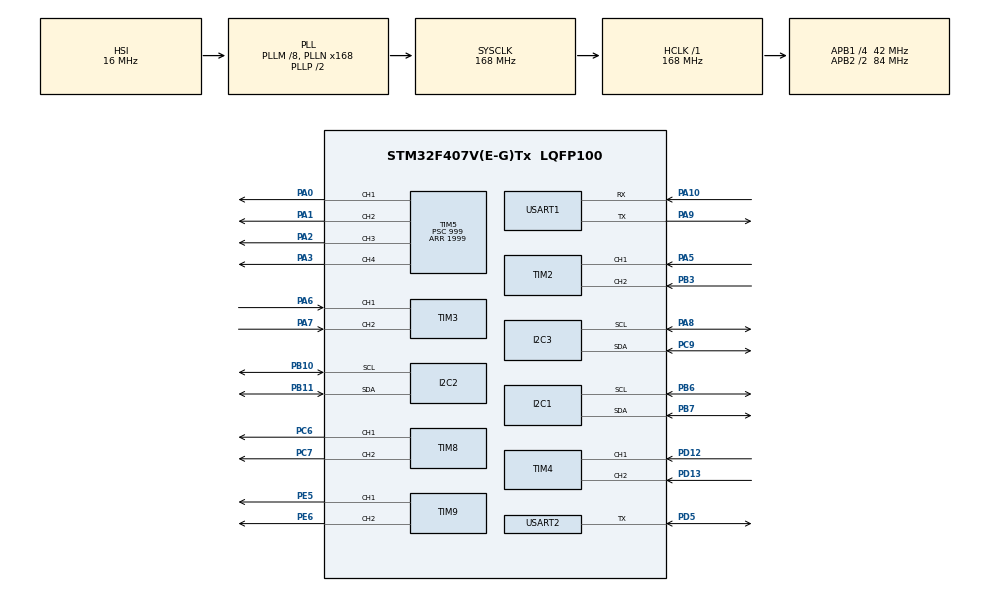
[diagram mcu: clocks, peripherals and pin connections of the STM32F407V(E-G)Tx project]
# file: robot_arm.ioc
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Dma.Request0=USART1_RX
Dma.Request1=USART1_TX
Dma.USART1_RX.0.Direction=DMA_PERIPH_TO_MEMORY
Dma.USART1_RX.0.FIFOMode=DMA_FIFOMODE_DISABLE
Dma.USART1_RX.0.Instance=DMA2_Stream2
Dma.USART1_RX.0.MemDataAlignment=DMA_MDATAALIGN_BYTE
Dma.USART1_RX.0.MemInc=DMA_MINC_ENABLE
Dma.USART1_RX.0.Mode=DMA_CIRCULAR
Dma.USART1_RX.0.PeriphDataAlignment=DMA_PDATAALIGN_BYTE
Dma.USART1_RX.0.PeriphInc=DMA_PINC_DISABLE
Dma.USART1_RX.0.Priority=DMA_PRIORITY_VERY_HIGH
Dma.USART1_TX.1.Direction=DMA_MEMORY_TO_PERIPH
Dma.USART1_TX.1.FIFOMode=DMA_FIFOMODE_DISABLE
Dma.USART1_TX.1.Instance=DMA2_Stream7
Dma.USART1_TX.1.MemDataAlignment=DMA_MDATAALIGN_BYTE
Dma.USART1_TX.1.MemInc=DMA_MINC_ENABLE
Dma.USART1_TX.1.Mode=DMA_NORMAL
Dma.USART1_TX.1.PeriphDataAlignment=DMA_PDATAALIGN_BYTE
Dma.USART1_TX.1.PeriphInc=DMA_PINC_DISABLE
Dma.USART1_TX.1.Priority=DMA_PRIORITY_VERY_HIGH
FREERTOS.Tasks01=defaultTask,24,12000,StartDefaultTask,Default,NULL,Static,defaultTaskBuffer,defaultTaskControlBlock
Mcu.Family=STM32F4
Mcu.Name=STM32F407V(E-G)Tx
Mcu.Package=LQFP100
NVIC.DMA2_Stream2_IRQn=true\:5\:0\:false\:false\:true\:true\:false\:true\:true
NVIC.DMA2_Stream7_IRQn=true\:5\:0\:false\:false\:true\:true\:false\:true\:true
NVIC.PriorityGroup=NVIC_PRIORITYGROUP_4
NVIC.TIM1_UP_TIM10_IRQn=true\:15\:0\:false\:false\:true\:false\:false\:true\:true
NVIC.TimeBase=TIM1_UP_TIM10_IRQn
NVIC.TimeBaseIP=TIM1
NVIC.USART1_IRQn=true\:5\:0\:false\:false\:true\:true\:true\:true\:true
NVIC.USART2_IRQn=true\:5\:0\:false\:false\:true\:true\:true\:true\:true
PA0-WKUP.Signal=S_TIM5_CH1
PA1.Signal=S_TIM5_CH2
PA10.Mode=Asynchronous
PA10.Signal=USART1_RX
PA13.Mode=Serial_Wire
PA13.Signal=SYS_JTMS-SWDIO
PA14.Mode=Serial_Wire
PA14.Signal=SYS_JTCK-SWCLK
PA2.Signal=S_TIM5_CH3
PA3.Signal=S_TIM5_CH4
PA5.Signal=S_TIM2_CH1_ETR
PA6.Signal=S_TIM3_CH1
PA7.Signal=S_TIM3_CH2
PA8.Mode=I2C
PA8.Signal=I2C3_SCL
PA9.Mode=Asynchronous
PA9.Signal=USART1_TX
PB10.Mode=I2C
PB10.Signal=I2C2_SCL
PB11.Mode=I2C
PB11.Signal=I2C2_SDA
PB3.Signal=S_TIM2_CH2
PB6.Mode=I2C
PB6.Signal=I2C1_SCL
PB7.Mode=I2C
PB7.Signal=I2C1_SDA
PC14-OSC32_IN.Mode=LSE-External-Oscillator
PC14-OSC32_IN.Signal=RCC_OSC32_IN
PC15-OSC32_OUT.Mode=LSE-External-Oscillator
PC15-OSC32_OUT.Signal=RCC_OSC32_OUT
PC6.Signal=S_TIM8_CH1
PC7.Signal=S_TIM8_CH2
PC9.Mode=I2C
PC9.Signal=I2C3_SDA
PD12.Signal=S_TIM4_CH1
PD13.Signal=S_TIM4_CH2
PD5.GPIO_PuPd=GPIO_PULLUP
PD5.GPIO_Speed=GPIO_SPEED_FREQ_HIGH
PD5.Mode=Half_duplex(single_wire_mode)
PD5.Signal=USART2_TX
PE5.Signal=S_TIM9_CH1
PE6.Signal=S_TIM9_CH2
PH0-OSC_IN.Mode=HSE-External-Oscillator
PH0-OSC_IN.Signal=RCC_OSC_IN
PH1-OSC_OUT.Mode=HSE-External-Oscillator
PH1-OSC_OUT.Signal=RCC_OSC_OUT
ProjectManager.HeapSize=0x200
ProjectManager.StackSize=0x400
ProjectManager.TargetToolchain=STM32CubeIDE
RCC.48MHZClocksFreq_Value=84000000
RCC.AHBFreq_Value=168000000
RCC.APB1CLKDivider=RCC_HCLK_DIV4
RCC.APB1Freq_Value=42000000
RCC.APB1TimFreq_Value=84000000
RCC.APB2CLKDivider=RCC_HCLK_DIV2
RCC.APB2Freq_Value=84000000
RCC.APB2TimFreq_Value=168000000
RCC.CortexFreq_Value=168000000
RCC.HCLKFreq_Value=168000000
RCC.HSE_VALUE=25000000
RCC.HSI_VALUE=16000000
RCC.PLLM=8
RCC.PLLN=168
RCC.SYSCLKFreq_VALUE=168000000
RCC.SYSCLKSource=RCC_SYSCLKSOURCE_PLLCLK
RCC.VCOOutputFreq_Value=336000000
SH.S_TIM2_CH1_ETR.0=TIM2_CH1,Encoder_Interface
SH.S_TIM2_CH2.0=TIM2_CH2,Encoder_Interface
SH.S_TIM3_CH1.0=TIM3_CH1,Encoder_Interface
SH.S_TIM3_CH2.0=TIM3_CH2,Encoder_Interface
SH.S_TIM4_CH1.0=TIM4_CH1,Encoder_Interface
SH.S_TIM4_CH2.0=TIM4_CH2,Encoder_Interface
SH.S_TIM5_CH1.0=TIM5_CH1,PWM Generation1 CH1
SH.S_TIM5_CH2.0=TIM5_CH2,PWM Generation2 CH2
SH.S_TIM5_CH3.0=TIM5_CH3,PWM Generation3 CH3
SH.S_TIM5_CH4.0=TIM5_CH4,PWM Generation4 CH4
SH.S_TIM8_CH1.0=TIM8_CH1,PWM Generation1 CH1
SH.S_TIM8_CH2.0=TIM8_CH2,PWM Generation2 CH2
SH.S_TIM9_CH1.0=TIM9_CH1,Output Compare1 CH1
SH.S_TIM9_CH2.0=TIM9_CH2,Output Compare2 CH2
TIM5.Channel-PWM\ Generation1\ CH1=TIM_CHANNEL_1
TIM5.Channel-PWM\ Generation2\ CH2=TIM_CHANNEL_2
TIM5.Channel-PWM\ Generation3\ CH3=TIM_CHANNEL_3
TIM5.Channel-PWM\ Generation4\ CH4=TIM_CHANNEL_4
TIM5.Period=1999
TIM5.Prescaler=999
TIM8.Channel-PWM\ Generation1\ CH1=TIM_CHANNEL_1
TIM8.Channel-PWM\ Generation2\ CH2=TIM_CHANNEL_2
TIM9.Channel-Output\ Compare1\ CH1=TIM_CHANNEL_1
TIM9.Channel-Output\ Compare2\ CH2=TIM_CHANNEL_2
USART1.VirtualMode=VM_ASYNC
USART2.BaudRate=1000000
USART2.VirtualMode=VM_ASYNC
VP_FREERTOS_VS_CMSIS_V2.Mode=CMSIS_V2
VP_SYS_VS_tim1.Mode=TIM1
board=custom

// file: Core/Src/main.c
/* USER CODE BEGIN Header */
/**
  ******************************************************************************
  * @file           : main.c
  * @brief          : Main program body
  ******************************************************************************
  * @attention
  *
  * Copyright (c) 2025 STMicroelectronics.
  * All rights reserved.
  *
  * This software is licensed under terms that can be found in the LICENSE file
  * in the root directory of this software component.
  * If no LICENSE file comes with this software, it is provided AS-IS.
  *
  ******************************************************************************
  */
/* USER CODE END Header */
#include "main.h"
#include "cmsis_os.h"
#include "dma.h"
#include "i2c.h"
#include "tim.h"
#include "usart.h"
#include "gpio.h"

/* USER CODE BEGIN PTD */
#include "as5600.h"
/* USER CODE END PTD */

/* USER CODE BEGIN PD */
static int32_t last_cnt[3]    = {0,0,0};   // cuenta anterior (para D)
static uint8_t settle_ctr[3]  = {0,0,0};   // ciclos asentado
void error_loop(){}
#define RCCHECK(fn) { rcl_ret_t temp_rc = fn; if((temp_rc != RCL_RET_OK)){error_loop();}}
#define RCSOFTCHECK(fn) { rcl_ret_t temp_rc = fn; if((temp_rc != RCL_RET_OK)){error_loop();}}
void * microros_allocate(size_t size, void * state);
void microros_deallocate(void * pointer, void * state);
void * microros_reallocate(void * pointer, size_t size, void * state);
void * microros_zero_allocate(size_t number_of_elements, size_t size_of_element, void * state);
bool cubemx_transport_open(struct uxrCustomTransport * transport);
bool cubemx_transport_close(struct uxrCustomTransport * transport);
size_t cubemx_transport_write(struct uxrCustomTransport* transport, const uint8_t * buf, size_t len, uint8_t * err);
size_t cubemx_transport_read(struct uxrCustomTransport* transport, uint8_t* buf, size_t len, int timeout, uint8_t* err);

//osThreadId_t defaultTaskHandle;

typedef struct {
    int32_t target_encoder_count;
    bool moving;
    float current_angle;
    float target_angle;
    uint32_t counts_per_revolution;
    TIM_HandleTypeDef* encoder_tim;
} DCMotorController;

DCMotorController dc_motors[3];

void simple_motor_test(void);
void update_dc_motors(void);
void init_sensors(void);
void stop(void);
void init_dc_motors(void);
void start_dc_move_to_angle(uint8_t motor_id, float angle);
void update_encoder_angles(void);
int get_motor_direction(uint8_t motor_id);
void test_motors_manual(void);
void move_to_left(uint8_t motor_id);
void move_to_right(uint8_t motor_id);
void stop_motor(uint8_t motor_id);
void stop_dc_motor(uint8_t motor_id);
void move_joint_dc_base(float target_angle);
void move_joint_dc_1(float target_angle);
void move_joint_dc_2(float target_angle);
void move_joint_dc_3(float target_angle);
void move_servo(int id, float target_angle);
void publish_angle(void);
void motor_angles_callback(const void *msgin);

#define COUNTS_PER_REV_MOTOR1 352000
#define COUNTS_PER_REV_MOTOR2 8000
#define COUNTS_PER_REV_MOTOR3 30000
#define MAX_PWM 2200
#define ENCODER_TOLERANCE 2
#define KP 8.0f
#define KD 12.0f
#define PWM_MIN 500
#define VEL_TOLERANCE 8
#define SETTLE_CYCLES 12

rosidl_runtime_c__String joint_names[5];
double joint_positions[5];

int32_t angle_to_encoder_counts(float angle);
float encoder_counts_to_angle(int32_t counts);

rcl_publisher_t encoder_angles_publisher;
std_msgs__msg__Float32MultiArray encoder_angles_msg;

rcl_subscription_t joint_sub;
trajectory_msgs__msg__JointTrajectory joint_msg;

uint32_t counter = 0;
float encoder_dc1 = 0.0f;
float encoder_dc2 = 0.0f;
float encoder_dc3 = 0.0f;
float current_angle_dc  = 0;
float target_angle_dc =0;
float last_servo1_angle = 0.0f;
float last_servo2_angle = 0.0f;
float encoder_data[3] = {0.0f, 0.0f, 0.0f};
float target_joint_angles[5] = {0, 0, 0, 0, 0};
float current_joint_angles[5] = {0, 0, 0, 0, 0};
float encoder1_angle = 0;
float encoder2_angle = 0;
float encoder3_angle = 0;

bool  position_reached = true;
bool new_target_available = false;

uint32_t total_pulses = 0;
uint32_t last_encoder_count = 0;

AS5600_TypeDef sensor1;
AS5600_TypeDef sensor2;
AS5600_TypeDef sensor3;

/* USER CODE END PD */

void SystemClock_Config(void);
void MX_FREERTOS_Init(void);

int main(void)
{

  /* MCU Configuration--------------------------------------------------------*/

  /* Reset of all peripherals, Initializes the Flash interface and the Systick. */
  HAL_Init();

  /* Configure the system clock */
  SystemClock_Config();

  /* Initialize all configured peripherals */
  MX_GPIO_Init();
  MX_DMA_Init();
  MX_I2C1_Init();
  MX_I2C2_Init();
  MX_I2C3_Init();
  MX_TIM2_Init();
  MX_TIM3_Init();
  MX_TIM4_Init();
  MX_TIM5_Init();
  MX_TIM8_Init();
  MX_TIM9_Init();
  MX_USART1_UART_Init();
  MX_USART2_UART_Init();
  /* USER CODE BEGIN 2 */
  HAL_TIM_Encoder_Start(&htim2, TIM_CHANNEL_ALL);
  HAL_TIM_Encoder_Start(&htim3, TIM_CHANNEL_ALL);
  HAL_TIM_Encoder_Start(&htim4, TIM_CHANNEL_ALL);

  /* PWM motores */
  HAL_TIM_PWM_Start(&htim5, TIM_CHANNEL_1); // Motor de la base der
  HAL_TIM_PWM_Start(&htim5, TIM_CHANNEL_2); // Motor de la base izq
  HAL_TIM_PWM_Start(&htim5, TIM_CHANNEL_3); // Motor joint 1 der
  HAL_TIM_PWM_Start(&htim5, TIM_CHANNEL_4); // Motor joint 1 izq
  HAL_TIM_PWM_Start(&htim8, TIM_CHANNEL_1); // Motor joint 2 der
  HAL_TIM_PWM_Start(&htim8, TIM_CHANNEL_2); // Motor joint 2 izq

  /* Duty inicial 0 */
  __HAL_TIM_SET_COMPARE(&htim5,  TIM_CHANNEL_1, 0);
  __HAL_TIM_SET_COMPARE(&htim5,  TIM_CHANNEL_2, 0);
  __HAL_TIM_SET_COMPARE(&htim5,  TIM_CHANNEL_3, 0);
  __HAL_TIM_SET_COMPARE(&htim5,  TIM_CHANNEL_4, 0);
  __HAL_TIM_SET_COMPARE(&htim8, TIM_CHANNEL_1, 0);
  __HAL_TIM_SET_COMPARE(&htim8, TIM_CHANNEL_2, 0);

  init_dc_motors();

  init_sensors();

  /* USER CODE END 2 */

  /* Init scheduler */
  osKernelInitialize();

  /* Call init function for freertos objects (in cmsis_os2.c) */
  MX_FREERTOS_Init();

  /* Start scheduler */
  osKernelStart();

  /* We should never get here as control is now taken by the scheduler */

  /* Infinite loop */
  while (1)
  {

  }
}

void SystemClock_Config(void)
{
  RCC_OscInitTypeDef RCC_OscInitStruct = {0};
  RCC_ClkInitTypeDef RCC_ClkInitStruct = {0};

  /** Configure the main internal regulator output voltage
  */
  __HAL_RCC_PWR_CLK_ENABLE();
  __HAL_PWR_VOLTAGESCALING_CONFIG(PWR_REGULATOR_VOLTAGE_SCALE1);

  /** Initializes the RCC Oscillators according to the specified parameters
  * in the RCC_OscInitTypeDef structure.
  */
  RCC_OscInitStruct.OscillatorType = RCC_OSCILLATORTYPE_HSI;
  RCC_OscInitStruct.HSIState = RCC_HSI_ON;
  RCC_OscInitStruct.HSICalibrationValue = RCC_HSICALIBRATION_DEFAULT;
  RCC_OscInitStruct.PLL.PLLState = RCC_PLL_ON;
  RCC_OscInitStruct.PLL.PLLSource = RCC_PLLSOURCE_HSI;
  RCC_OscInitStruct.PLL.PLLM = 8;
  RCC_OscInitStruct.PLL.PLLN = 168;
  RCC_OscInitStruct.PLL.PLLP = RCC_PLLP_DIV2;
  RCC_OscInitStruct.PLL.PLLQ = 4;
  if (HAL_RCC_OscConfig(&RCC_OscInitStruct) != HAL_OK)
  {
    Error_Handler();
  }

  /** Initializes the CPU, AHB and APB buses clocks
  */
  RCC_ClkInitStruct.ClockType = RCC_CLOCKTYPE_HCLK|RCC_CLOCKTYPE_SYSCLK
                              |RCC_CLOCKTYPE_PCLK1|RCC_CLOCKTYPE_PCLK2;
  RCC_ClkInitStruct.SYSCLKSource = RCC_SYSCLKSOURCE_PLLCLK;
  RCC_ClkInitStruct.AHBCLKDivider = RCC_SYSCLK_DIV1;
  RCC_ClkInitStruct.APB1CLKDivider = RCC_HCLK_DIV4;
  RCC_ClkInitStruct.APB2CLKDivider = RCC_HCLK_DIV2;

  if (HAL_RCC_ClockConfig(&RCC_ClkInitStruct, FLASH_LATENCY_5) != HAL_OK)
  {
    Error_Handler();
  }
}

/* USER CODE BEGIN 4 */
static inline uint32_t clamp_pwm(int32_t mag) {
  if (mag < 0) mag = -mag;
  if (mag > 0 && mag < PWM_MIN) mag = PWM_MIN;  // vence fricción
  if (mag > MAX_PWM) mag = MAX_PWM;
  return (uint32_t)mag;
}

static void motor_set_pwm(uint8_t i, int32_t u)
{
  uint32_t mag = clamp_pwm(u);

  switch(i) {
    case 0: /* Base: TIM5_CH1/CH2 */
      __HAL_TIM_SET_COMPARE(&htim5, TIM_CHANNEL_1, (u>0)? mag:0);  // RPWM
      __HAL_TIM_SET_COMPARE(&htim5, TIM_CHANNEL_2, (u<0)? mag:0);  // LPWM
      break;

    case 1: /* Motor1: TIM5_CH3 / TIM5_CH4 */
      __HAL_TIM_SET_COMPARE(&htim5, TIM_CHANNEL_3, (u<0)? mag:0); // derecha -> TIM10
      __HAL_TIM_SET_COMPARE(&htim5, TIM_CHANNEL_4, (u>0)? mag:0); // izquierda -> TIM11
      break;

    case 2: /* Motor2: TIM8_CH1/CH2 */
      __HAL_TIM_SET_COMPARE(&htim8, TIM_CHANNEL_1, (u>0)? mag:0);  // RPWM
      __HAL_TIM_SET_COMPARE(&htim8, TIM_CHANNEL_2, (u<0)? mag:0);  // LPWM
      break;
  }
}

/* Delta de encoder con wrap (TIM4 es 16b; TIM2/TIM5 32b) */
static inline int32_t enc_delta(TIM_HandleTypeDef* tim, uint32_t curr, uint32_t last)
{
  if (tim->Instance == TIM4) {
    return (int32_t)( (int16_t)((uint16_t)curr - (uint16_t)last) );
  } else {
    return (int32_t)( (int32_t)((uint32_t)curr - (uint32_t)last) );
  }
}

void reset_encoder_position(void)
{
  __HAL_TIM_SET_COUNTER(&htim2, 0);
  total_pulses = 0;
  last_encoder_count = 0;
  current_angle_dc = 0.0f;
}

void joint_callback(const void * msgin) {
  const trajectory_msgs__msg__JointTrajectory * msg = (const trajectory_msgs__msg__JointTrajectory *) msgin;
  if (msg->points.size == 0) return;

  trajectory_msgs__msg__JointTrajectoryPoint point = msg->points.data[0];
  if (point.positions.size >= 5) {
    target_joint_angles[0] = point.positions.data[0];
    target_joint_angles[1] = point.positions.data[1];
    target_joint_angles[2] = point.positions.data[2];
    target_joint_angles[3] = point.positions.data[3];
    target_joint_angles[4] = point.positions.data[4];
    new_target_available = true;
  } else {
    for (int i = 0; i < 5; i++) {
      if (i < point.positions.size) target_joint_angles[i] = point.positions.data[i];
      else                          target_joint_angles[i] = 0.0f;
    }
    new_target_available = true;
  }
}

void init_dc_motors(void)
{
  /* Motor0 Base */
  dc_motors[0].target_encoder_count = 0;
  dc_motors[0].moving = false;
  dc_motors[0].current_angle = 0.0f;
  dc_motors[0].target_angle = 0.0f;
  dc_motors[0].counts_per_revolution = COUNTS_PER_REV_MOTOR1;
  dc_motors[0].encoder_tim = &htim2;

  /* Motor1 Articulación 1 */
  dc_motors[1].target_encoder_count = 0;
  dc_motors[1].moving = false;
  dc_motors[1].current_angle = 0.0f;
  dc_motors[1].target_angle = 0.0f;
  dc_motors[1].counts_per_revolution = COUNTS_PER_REV_MOTOR2;
  dc_motors[1].encoder_tim = &htim3;

  /* Motor2 Articulación 2 */
  dc_motors[2].target_encoder_count = 0;
  dc_motors[2].moving = false;
  dc_motors[2].current_angle = 0.0f;
  dc_motors[2].target_angle = 0.0f;
  dc_motors[2].counts_per_revolution = COUNTS_PER_REV_MOTOR3;
  dc_motors[2].encoder_tim = &htim4;
}

void move_to_left(uint8_t motor_id)
{
  switch(motor_id) {
    case 0:
      __HAL_TIM_SET_COMPARE(&htim5, TIM_CHANNEL_1, MAX_PWM);
      __HAL_TIM_SET_COMPARE(&htim5, TIM_CHANNEL_2, 0);
      break;
    case 1:
      __HAL_TIM_SET_COMPARE(&htim5, TIM_CHANNEL_3, 0);
      __HAL_TIM_SET_COMPARE(&htim5, TIM_CHANNEL_4, MAX_PWM);
      break;
    case 2:
      __HAL_TIM_SET_COMPARE(&htim8, TIM_CHANNEL_1, 0);
      __HAL_TIM_SET_COMPARE(&htim8, TIM_CHANNEL_2, MAX_PWM);
      break;
  }
}

void move_to_right(uint8_t motor_id)
{
  switch(motor_id) {
    case 0:
      __HAL_TIM_SET_COMPARE(&htim5, TIM_CHANNEL_1, 0);
      __HAL_TIM_SET_COMPARE(&htim5, TIM_CHANNEL_2, MAX_PWM);
      break;
    case 1:
      __HAL_TIM_SET_COMPARE(&htim5, TIM_CHANNEL_3, 0);
      __HAL_TIM_SET_COMPARE(&htim5, TIM_CHANNEL_4, MAX_PWM);
      break;
    case 2:
      __HAL_TIM_SET_COMPARE(&htim8, TIM_CHANNEL_1, 0);
      __HAL_TIM_SET_COMPARE(&htim8, TIM_CHANNEL_2, MAX_PWM);
      break;
  }
}

void stop_motor(uint8_t motor_id){
	  dc_motors[motor_id].moving = false;
	  switch(motor_id) {
	    case 0:
	      __HAL_TIM_SET_COMPARE(&htim5, TIM_CHANNEL_1, 0);
	      __HAL_TIM_SET_COMPARE(&htim5, TIM_CHANNEL_2, 0);
	      break;
	    case 1:
	      __HAL_TIM_SET_COMPARE(&htim5, TIM_CHANNEL_3, 0);
	      __HAL_TIM_SET_COMPARE(&htim5, TIM_CHANNEL_4, 0);
	      break;
	    case 2:
	      __HAL_TIM_SET_COMPARE(&htim8, TIM_CHANNEL_1, 0);
	      __HAL_TIM_SET_COMPARE(&htim8, TIM_CHANNEL_2, 0);
	      break;
	  }
}

void stop_dc_motor(uint8_t motor_id)
{
  stop_motor(motor_id);
  dc_motors[motor_id].moving = false;
}

void start_dc_move_to_angle(uint8_t motor_id, float angle_deg)
{
  if (motor_id >= 3) return;

  DCMotorController *m = &dc_motors[motor_id];
  TIM_HandleTypeDef *tim = m->encoder_tim;

  __HAL_TIM_SET_COUNTER(tim, 0);

  last_cnt[motor_id]   = 0;
  settle_ctr[motor_id] = 0;

  m->target_encoder_count = (int32_t)lroundf((angle_deg * m->counts_per_revolution) / 360.0f);

  m->moving        = true;
  m->target_angle  = angle_deg;
  m->current_angle = 0.0f;
}

void update_dc_motors(void)
{
  for(int i = 0; i < 3; i++) {
    if(!dc_motors[i].moving) continue;

    TIM_HandleTypeDef* tim = dc_motors[i].encoder_tim;
    uint32_t curr_u = __HAL_TIM_GET_COUNTER(tim);
    int32_t curr = (int32_t)curr_u;

    int32_t e = dc_motors[i].target_encoder_count - curr;
    int32_t d = enc_delta(tim, curr_u, (uint32_t)last_cnt[i]);

    /* u = Kp*e - Kd*d  (si cnt sube acercándose a target, d>0 y reduce u) */
    float uf = KP * (float)e - KD * (float)d;
    int32_t u = (int32_t)uf;

    if ( (abs(e) <= ENCODER_TOLERANCE) && (abs(d) <= VEL_TOLERANCE) ) {
      if (++settle_ctr[i] >= SETTLE_CYCLES) {
        stop_motor(i);

        __HAL_TIM_SET_COUNTER(tim, 0);
        last_cnt[i] = 0;

        dc_motors[i].moving = false;
        dc_motors[i].current_angle = 0.0f;
        dc_motors[i].target_encoder_count = 0;
        continue;
      }
    } else {
      settle_ctr[i] = 0;
    }

    motor_set_pwm(i, u);
    last_cnt[i] = curr;
  }
}

void update_encoder_angles(void)
{
  /* Dejo tu mapeo tal cual */
  encoder_dc1 = (__HAL_TIM_GET_COUNTER(&htim5) * 360.0f) / COUNTS_PER_REV_MOTOR2;
  encoder_dc2 = (__HAL_TIM_GET_COUNTER(&htim2) * 360.0f) / COUNTS_PER_REV_MOTOR3;
  encoder_dc3 = (__HAL_TIM_GET_COUNTER(&htim4) * 360.0f) / COUNTS_PER_REV_MOTOR1;

  dc_motors[0].current_angle = encoder_dc1;
  dc_motors[1].current_angle = encoder_dc2;
  dc_motors[2].current_angle = encoder_dc3;
}

void move_joint_dc_1(float target_angle) { start_dc_move_to_angle(0, target_angle); }
void move_joint_dc_2(float target_angle) { start_dc_move_to_angle(1, target_angle); }
void move_joint_dc_3(float target_angle) { start_dc_move_to_angle(2, target_angle); }

void move_servo(int id, float angle)

{
    if (angle < 0) angle = 0;
    if (angle > 180) angle = 180;

    uint32_t channel;
    if (id == 3) {
        channel = TIM_CHANNEL_1;
    } else {
        channel = TIM_CHANNEL_2;
    }
	uint32_t pulse = 50 + (angle * 500) / 180;
	uint32_t pwm_value = 2000 - pulse;
	__HAL_TIM_SET_COMPARE(&htim9, channel, pwm_value);

}

void motor_angles_callback(const void *msgin) {
  const std_msgs__msg__Int32MultiArray *msg = (const std_msgs__msg__Int32MultiArray *)msgin;

  if (msg->data.size >= 3) {

    start_dc_move_to_angle(1, (float)msg->data.data[0]);  // Motor DC 1
    start_dc_move_to_angle(0, (float)msg->data.data[1]);  // Motor DC 2
    start_dc_move_to_angle(2, (float)msg->data.data[2]);  // Motor DC 3
    move_servo(3,(float)msg->data.data[3]);				  // Servo motor 1
    move_servo(4,(float)msg->data.data[4]);               // Servo motor 2
  }

}

void init_sensors(void){
	  sensor1.i2cHandle = &hi2c1;
	  sensor1.i2cAddr = AS5600_SLAVE_ADDRESS;
	  sensor1.confRegister[0] = 0x00;
	  sensor1.confRegister[1] = 0x00;

	  sensor2.i2cHandle = &hi2c2;
	  sensor2.i2cAddr = AS5600_SLAVE_ADDRESS;
	  sensor2.confRegister[0] = 0x00;
	  sensor2.confRegister[1] = 0x00;

	  sensor3.i2cHandle = &hi2c3;
	  sensor3.i2cAddr = AS5600_SLAVE_ADDRESS;
	  sensor3.confRegister[0] = 0x00;
	  sensor3.confRegister[1] = 0x00;

	  AS5600_Init(&sensor1);
	  AS5600_GetAngle(&sensor1, &encoder1_angle);

	  AS5600_Init(&sensor2);
	  AS5600_Init(&sensor3);

}

void publish_angle()
{
    AS5600_GetAngle(&sensor1, &encoder1_angle);
    AS5600_GetAngle(&sensor2, &encoder2_angle);
    AS5600_GetAngle(&sensor3, &encoder3_angle);

    encoder_angles_msg.data.data[0] = encoder1_angle;
    encoder_angles_msg.data.data[1] = encoder2_angle;
    encoder_angles_msg.data.data[2] = encoder3_angle;
    encoder_angles_msg.data.size = 3;

    RCSOFTCHECK(rcl_publish(&encoder_angles_publisher, &encoder_angles_msg, NULL));
}

void StartDefaultTask(void *argument)
{
  rcl_node_t node;
  rclc_executor_t executor;

  rcl_subscription_t motor_angles_sub;
  std_msgs__msg__Int32MultiArray motor_angles_msg;

  std_msgs__msg__Float32MultiArray__init(&encoder_angles_msg);
  encoder_angles_msg.data.data = (float*)malloc(sizeof(float) * 3);
  encoder_angles_msg.data.capacity = 3;
  encoder_angles_msg.data.size = 3;

  // Buffers para los datos
  int32_t motor_angles_buffer[5] = {0, 0, 0, 0, 0};
  float encoder_data_buffer[3] = {0.0f, 0.0f, 0.0f};

  // Inicializar mensajes
  std_msgs__msg__Float32MultiArray__init(&encoder_angles_msg);

  // Configurar mensaje de ángulos de motores (entrada)
  motor_angles_msg.data.data = motor_angles_buffer;
  motor_angles_msg.data.capacity = 5;
  motor_angles_msg.data.size = 5;

  // Configurar mensaje de ángulos de encoders (salida)
  encoder_angles_msg.data.data = encoder_data_buffer;
  encoder_angles_msg.data.capacity = 3;
  encoder_angles_msg.data.size = 3;

  rmw_uros_set_custom_transport(
    true,
    (void *) &huart1,
    cubemx_transport_open,
    cubemx_transport_close,
    cubemx_transport_write,
    cubemx_transport_read
  );

  rcl_allocator_t freeRTOS_allocator = rcutils_get_default_allocator();
  freeRTOS_allocator.allocate = microros_allocate;
  freeRTOS_allocator.deallocate = microros_deallocate;
  freeRTOS_allocator.reallocate = microros_reallocate;
  freeRTOS_allocator.zero_allocate =  microros_zero_allocate;

  // Esperar conexión con el agente
  while (rmw_uros_ping_agent(100, 1) != RCL_RET_OK) {
    osDelay(100);
  }

  rclc_support_t support;
  RCCHECK(rclc_support_init(&support, 0, NULL, &freeRTOS_allocator));
  RCCHECK(rclc_node_init_default(&node, "motor_control_node", "", &support));
  RCCHECK(rclc_executor_init(&executor, &support.context, 2, &freeRTOS_allocator));

  RCCHECK(rclc_subscription_init_default(
    &motor_angles_sub,
    &node,
    ROSIDL_GET_MSG_TYPE_SUPPORT(std_msgs, msg, Int32MultiArray),
    "/motor_angles"
  ));

  RCCHECK(rclc_executor_add_subscription(
    &executor,
    &motor_angles_sub,
    &motor_angles_msg,
    &motor_angles_callback,
    ON_NEW_DATA
  ));

  // Publicador para enviar ángulos actuales de los encoders
  RCCHECK(rclc_publisher_init_default(
    &encoder_angles_publisher,
    &node,
    ROSIDL_GET_MSG_TYPE_SUPPORT(std_msgs, msg, Float32MultiArray),
    "/encoder_angles"
  ));

  osDelay(100);

  for(;;)
  {
    // Procesar mensajes entrantes
    rclc_executor_spin_some(&executor, 10);
    // Actualizar lecturas de encoders
    update_encoder_angles();
    // Actualizar control de motores DC
    update_dc_motors();
    publish_angle();
    osDelay(1);
  }
}

/* USER CODE END 4 */

void HAL_TIM_PeriodElapsedCallback(TIM_HandleTypeDef *htim)
{
  if (htim->Instance == TIM1) {
    HAL_IncTick();
  }
}

void Error_Handler(void)
{
  __disable_irq();
  while (1)
  {
  }
}

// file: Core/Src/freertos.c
/* USER CODE BEGIN Header */
/**
  ******************************************************************************
  * File Name          : freertos.c
  * Description        : Code for freertos applications
  ******************************************************************************
  * @attention
  *
  * Copyright (c) 2025 STMicroelectronics.
  * All rights reserved.
  *
  * This software is licensed under terms that can be found in the LICENSE file
  * in the root directory of this software component.
  * If no LICENSE file comes with this software, it is provided AS-IS.
  *
  ******************************************************************************
  */
/* USER CODE END Header */

#include "FreeRTOS.h"
#include "task.h"
#include "main.h"
#include "cmsis_os.h"

typedef StaticTask_t osStaticThreadDef_t;

/* Definitions for defaultTask */
osThreadId_t defaultTaskHandle;
uint32_t defaultTaskBuffer[ 12000 ];
osStaticThreadDef_t defaultTaskControlBlock;
const osThreadAttr_t defaultTask_attributes = {
  .name = "defaultTask",
  .cb_mem = &defaultTaskControlBlock,
  .cb_size = sizeof(defaultTaskControlBlock),
  .stack_mem = &defaultTaskBuffer[0],
  .stack_size = sizeof(defaultTaskBuffer),
  .priority = (osPriority_t) osPriorityNormal,
};

void StartDefaultTask(void *argument);

void MX_FREERTOS_Init(void); /* (MISRA C 2004 rule 8.1) */

void MX_FREERTOS_Init(void) {

  /* Create the thread(s) */
  /* creation of defaultTask */
  defaultTaskHandle = osThreadNew(StartDefaultTask, NULL, &defaultTask_attributes);

}
